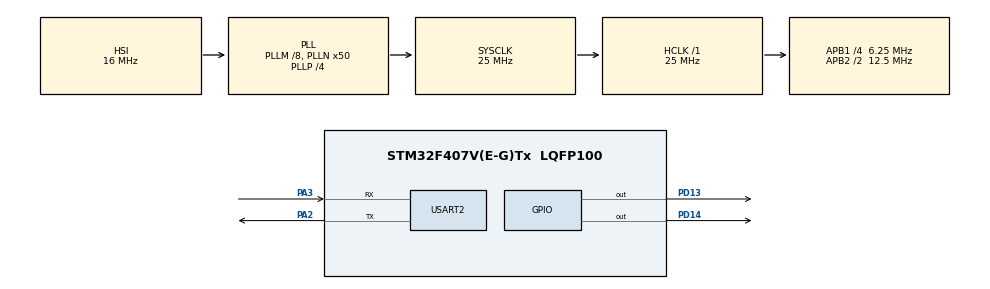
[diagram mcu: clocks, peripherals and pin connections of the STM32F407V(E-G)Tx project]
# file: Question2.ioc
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Mcu.Family=STM32F4
Mcu.Name=STM32F407V(E-G)Tx
Mcu.Package=LQFP100
NVIC.PriorityGroup=NVIC_PRIORITYGROUP_0
NVIC.USART2_IRQn=true\:0\:0\:false\:false\:true\:true\:true\:true
PA2.Mode=Asynchronous
PA2.Signal=USART2_TX
PA3.Mode=Asynchronous
PA3.Signal=USART2_RX
PD13.Signal=GPIO_Output
PD14.Signal=GPIO_Output
ProjectManager.HeapSize=0x200
ProjectManager.StackSize=0x400
ProjectManager.TargetToolchain=STM32CubeIDE
RCC.48MHZClocksFreq_Value=14285714.285714285
RCC.AHBFreq_Value=25000000
RCC.APB1CLKDivider=RCC_HCLK_DIV4
RCC.APB1Freq_Value=6250000
RCC.APB1TimFreq_Value=12500000
RCC.APB2CLKDivider=RCC_HCLK_DIV2
RCC.APB2Freq_Value=12500000
RCC.APB2TimFreq_Value=25000000
RCC.CortexFreq_Value=25000000
RCC.HCLKFreq_Value=25000000
RCC.HSE_VALUE=8000000
RCC.HSI_VALUE=16000000
RCC.LSE_VALUE=32768
RCC.PLLM=8
RCC.PLLN=50
RCC.PLLP=RCC_PLLP_DIV4
RCC.PLLQ=7
RCC.SYSCLKFreq_VALUE=25000000
RCC.SYSCLKSource=RCC_SYSCLKSOURCE_PLLCLK
RCC.VCOOutputFreq_Value=100000000
USART2.VirtualMode=VM_ASYNC
board=STM32F407G-DISC1

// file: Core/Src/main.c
/* USER CODE BEGIN Header */
/**
  ******************************************************************************
  * @file           : main.c
  * @brief          : Main program body
  ******************************************************************************
  * @attention
  *
  * Copyright (c) 2025 STMicroelectronics.
  * All rights reserved.
  *
  * This software is licensed under terms that can be found in the LICENSE file
  * in the root directory of this software component.
  * If no LICENSE file comes with this software, it is provided AS-IS.
  *
  ******************************************************************************
  */
/* USER CODE END Header */
#include "main.h"
#include<string.h>

/* USER CODE BEGIN PD */
#define MAX_LEN 100
uint8_t rx_byte =0;
char rx_buffer[MAX_LEN];
uint8_t rx_index =0;
/* USER CODE END PD */
#define LED_RED    13
#define ORANGE_LED 14

UART_HandleTypeDef huart2;

void SystemClock_Config(void);
static void MX_GPIO_Init(void);
static void MX_USART2_UART_Init(void);

int main(void)
{

  /* MCU Configuration--------------------------------------------------------*/

  /* Reset of all peripherals, Initializes the Flash interface and the Systick. */
  HAL_Init();

  /* Configure the system clock */
  SystemClock_Config();

  /* Initialize all configured peripherals */
  MX_GPIO_Init();
  MX_USART2_UART_Init();

  /* Infinite loop */
  while (1)
  {

    /* USER CODE BEGIN 3 */
	  HAL_UART_Receive(&huart2, &rx_byte, 1, HAL_MAX_DELAY);

	  HAL_UART_Transmit(&huart2, &rx_byte, 1, HAL_MAX_DELAY);

	  if(rx_byte == '\r')
	  {
		  rx_buffer[rx_index] = '\0';
		  //int a = strcmp(rx_buffer,"RED_LED");
		  if(strcmp(rx_buffer,"RED_LED")==0)
		  {
			  HAL_GPIO_TogglePin(GPIOD, GPIO_PIN_14);

		  }
		  else if(strcmp(rx_buffer,"ORANGE_LED")==0)
		  {
			  HAL_GPIO_TogglePin(GPIOD, GPIO_PIN_13);
		  }
		  else
		  {
			  char msg[32] = "\r\nInvalid Command";
			  HAL_UART_Transmit(&huart2,(uint8_t*) msg, strlen(msg), HAL_MAX_DELAY);

		  }
		  char msg3[32] = "\r\n";
		  HAL_UART_Transmit(&huart2, (uint8_t*)msg3, strlen(msg3), HAL_MAX_DELAY);
		  rx_index =0;
	  }
	  else
	  {
		  if (rx_index < MAX_LEN - 1)
		            {
		                rx_buffer[rx_index++] = rx_byte;
		            }
	  }

  }
  /* USER CODE END 3 */
}

void SystemClock_Config(void)
{
  RCC_OscInitTypeDef RCC_OscInitStruct = {0};
  RCC_ClkInitTypeDef RCC_ClkInitStruct = {0};

  /** Configure the main internal regulator output voltage
  */
  __HAL_RCC_PWR_CLK_ENABLE();
  __HAL_PWR_VOLTAGESCALING_CONFIG(PWR_REGULATOR_VOLTAGE_SCALE1);

  /** Initializes the RCC Oscillators according to the specified parameters
  * in the RCC_OscInitTypeDef structure.
  */
  RCC_OscInitStruct.OscillatorType = RCC_OSCILLATORTYPE_HSI;
  RCC_OscInitStruct.HSIState = RCC_HSI_ON;
  RCC_OscInitStruct.HSICalibrationValue = RCC_HSICALIBRATION_DEFAULT;
  RCC_OscInitStruct.PLL.PLLState = RCC_PLL_ON;
  RCC_OscInitStruct.PLL.PLLSource = RCC_PLLSOURCE_HSI;
  RCC_OscInitStruct.PLL.PLLM = 8;
  RCC_OscInitStruct.PLL.PLLN = 50;
  RCC_OscInitStruct.PLL.PLLP = RCC_PLLP_DIV4;
  RCC_OscInitStruct.PLL.PLLQ = 7;
  if (HAL_RCC_OscConfig(&RCC_OscInitStruct) != HAL_OK)
  {
    Error_Handler();
  }

  /** Initializes the CPU, AHB and APB buses clocks
  */
  RCC_ClkInitStruct.ClockType = RCC_CLOCKTYPE_HCLK|RCC_CLOCKTYPE_SYSCLK
                              |RCC_CLOCKTYPE_PCLK1|RCC_CLOCKTYPE_PCLK2;
  RCC_ClkInitStruct.SYSCLKSource = RCC_SYSCLKSOURCE_PLLCLK;
  RCC_ClkInitStruct.AHBCLKDivider = RCC_SYSCLK_DIV1;
  RCC_ClkInitStruct.APB1CLKDivider = RCC_HCLK_DIV4;
  RCC_ClkInitStruct.APB2CLKDivider = RCC_HCLK_DIV2;

  if (HAL_RCC_ClockConfig(&RCC_ClkInitStruct, FLASH_LATENCY_0) != HAL_OK)
  {
    Error_Handler();
  }
}

static void MX_USART2_UART_Init(void)
{

  huart2.Instance = USART2;
  huart2.Init.BaudRate = 9600;
  huart2.Init.WordLength = UART_WORDLENGTH_8B;
  huart2.Init.StopBits = UART_STOPBITS_1;
  huart2.Init.Parity = UART_PARITY_NONE;
  huart2.Init.Mode = UART_MODE_TX_RX;
  huart2.Init.HwFlowCtl = UART_HWCONTROL_NONE;
  huart2.Init.OverSampling = UART_OVERSAMPLING_16;
  if (HAL_UART_Init(&huart2) != HAL_OK)
  {
    Error_Handler();
  }

}

static void MX_GPIO_Init(void)
{
  GPIO_InitTypeDef GPIO_InitStruct = {0};

  /* GPIO Ports Clock Enable */
  __HAL_RCC_GPIOA_CLK_ENABLE();
  __HAL_RCC_GPIOD_CLK_ENABLE();

  /*Configure GPIO pin Output Level */
  HAL_GPIO_WritePin(GPIOD, GPIO_PIN_13|GPIO_PIN_14, GPIO_PIN_RESET);

  /*Configure GPIO pins : PD13 PD14 */
  GPIO_InitStruct.Pin = GPIO_PIN_13|GPIO_PIN_14;
  GPIO_InitStruct.Mode = GPIO_MODE_OUTPUT_PP;
  GPIO_InitStruct.Pull = GPIO_NOPULL;
  GPIO_InitStruct.Speed = GPIO_SPEED_FREQ_LOW;
  HAL_GPIO_Init(GPIOD, &GPIO_InitStruct);

}

void Error_Handler(void)
{
  __disable_irq();
  while (1)
  {
  }
}
